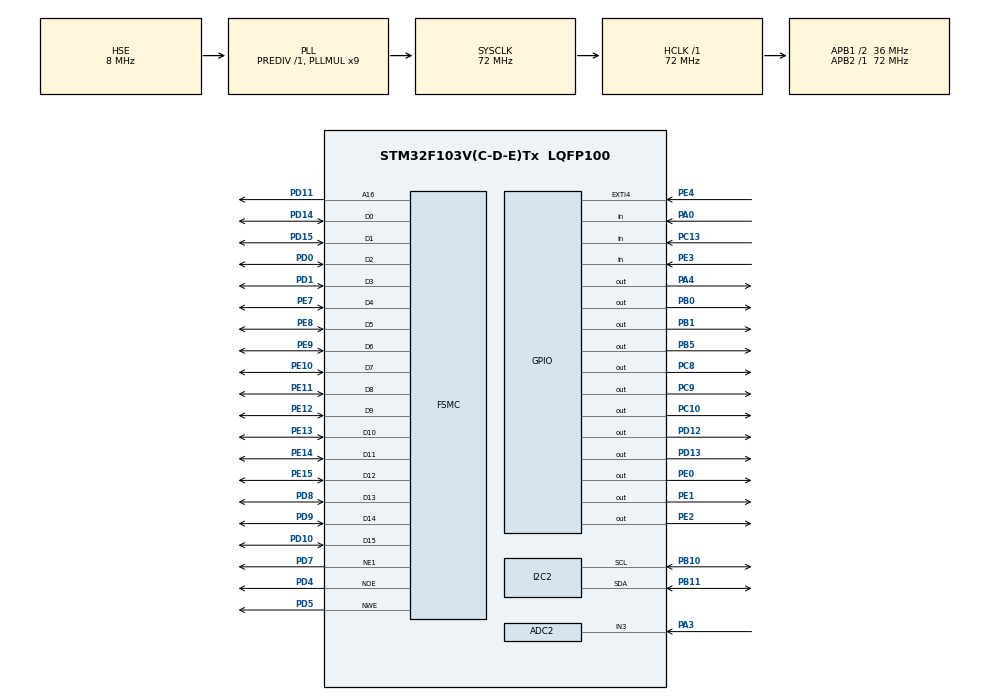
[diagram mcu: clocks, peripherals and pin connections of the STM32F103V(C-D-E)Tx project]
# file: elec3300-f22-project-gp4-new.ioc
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ADC2.Channel-0\#ChannelRegularConversion=ADC_CHANNEL_3
ADC2.ContinuousConvMode=ENABLE
ADC2.NbrOfConversionFlag=1
ADC2.Rank-0\#ChannelRegularConversion=1
ADC2.SamplingTime-0\#ChannelRegularConversion=ADC_SAMPLETIME_55CYCLES_5
I2C2.I2C_Mode=I2C_Fast
Mcu.Family=STM32F1
Mcu.Name=STM32F103V(C-D-E)Tx
Mcu.Package=LQFP100
NVIC.EXTI4_IRQn=true\:0\:0\:false\:false\:true\:true\:true\:true
NVIC.PriorityGroup=NVIC_PRIORITYGROUP_4
OSC_IN.Mode=HSE-External-Oscillator
OSC_IN.Signal=RCC_OSC_IN
OSC_OUT.Mode=HSE-External-Oscillator
OSC_OUT.Signal=RCC_OSC_OUT
PA0-WKUP.Signal=GPIO_Input
PA13.Mode=Serial_Wire
PA13.Signal=SYS_JTMS-SWDIO
PA14.Mode=Serial_Wire
PA14.Signal=SYS_JTCK-SWCLK
PA3.Signal=ADCx_IN3
PA4.GPIO_PuPd=GPIO_NOPULL
PA4.GPIO_Speed=GPIO_SPEED_FREQ_HIGH
PA4.Signal=GPIO_Output
PB0.GPIO_Speed=GPIO_SPEED_FREQ_HIGH
PB0.PinState=GPIO_PIN_SET
PB0.Signal=GPIO_Output
PB1.GPIO_Speed=GPIO_SPEED_FREQ_HIGH
PB1.PinState=GPIO_PIN_SET
PB1.Signal=GPIO_Output
PB10.Mode=I2C
PB10.Signal=I2C2_SCL
PB11.Mode=I2C
PB11.Signal=I2C2_SDA
PB5.GPIO_Speed=GPIO_SPEED_FREQ_HIGH
PB5.PinState=GPIO_PIN_SET
PB5.Signal=GPIO_Output
PC10.Signal=GPIO_Output
PC13-TAMPER-RTC.Signal=GPIO_Input
PC14-OSC32_IN.Mode=LSE-External-Oscillator
PC14-OSC32_IN.Signal=RCC_OSC32_IN
PC15-OSC32_OUT.Mode=LSE-External-Oscillator
PC15-OSC32_OUT.Signal=RCC_OSC32_OUT
PC8.Signal=GPIO_Output
PC9.Signal=GPIO_Output
PD0.Mode=16b-d1
PD0.Signal=FSMC_D2
PD1.Mode=16b-d1
PD1.Signal=FSMC_D3
PD10.Mode=16b-d1
PD10.Signal=FSMC_D15
PD11.Mode=A16_1
PD11.Signal=FSMC_A16
PD12.GPIO_Speed=GPIO_SPEED_FREQ_HIGH
PD12.PinState=GPIO_PIN_RESET
PD12.Signal=GPIO_Output
PD13.GPIO_Speed=GPIO_SPEED_FREQ_HIGH
PD13.PinState=GPIO_PIN_RESET
PD13.Signal=GPIO_Output
PD14.Mode=16b-d1
PD14.Signal=FSMC_D0
PD15.Mode=16b-d1
PD15.Signal=FSMC_D1
PD4.Mode=Lcd1
PD4.Signal=FSMC_NOE
PD5.Mode=Lcd1
PD5.Signal=FSMC_NWE
PD7.Mode=NorPsramChipSelect1_1
PD7.Signal=FSMC_NE1
PD8.Mode=16b-d1
PD8.Signal=FSMC_D13
PD9.Mode=16b-d1
PD9.Signal=FSMC_D14
PE0.GPIO_Speed=GPIO_SPEED_FREQ_HIGH
PE0.PinState=GPIO_PIN_RESET
PE0.Signal=GPIO_Output
PE1.GPIO_Speed=GPIO_SPEED_FREQ_HIGH
PE1.PinState=GPIO_PIN_RESET
PE1.Signal=GPIO_Output
PE10.Mode=16b-d1
PE10.Signal=FSMC_D7
PE11.Mode=16b-d1
PE11.Signal=FSMC_D8
PE12.Mode=16b-d1
PE12.Signal=FSMC_D9
PE13.Mode=16b-d1
PE13.Signal=FSMC_D10
PE14.Mode=16b-d1
PE14.Signal=FSMC_D11
PE15.Mode=16b-d1
PE15.Signal=FSMC_D12
PE2.GPIO_Speed=GPIO_SPEED_FREQ_HIGH
PE2.PinState=GPIO_PIN_RESET
PE2.Signal=GPIO_Output
PE3.GPIO_PuPd=GPIO_PULLUP
PE3.Signal=GPIO_Input
PE4.GPIO_ModeDefaultEXTI=GPIO_MODE_IT_FALLING
PE4.GPIO_PuPd=GPIO_PULLUP
PE4.Signal=GPXTI4
PE7.Mode=16b-d1
PE7.Signal=FSMC_D4
PE8.Mode=16b-d1
PE8.Signal=FSMC_D5
PE9.Mode=16b-d1
PE9.Signal=FSMC_D6
ProjectManager.HeapSize=0x200
ProjectManager.StackSize=0x400
ProjectManager.TargetToolchain=STM32CubeIDE
RCC.ADCPresc=RCC_ADCPCLK2_DIV6
RCC.AHBFreq_Value=72000000
RCC.APB1CLKDivider=RCC_HCLK_DIV2
RCC.APB1Freq_Value=36000000
RCC.APB1TimFreq_Value=72000000
RCC.APB2Freq_Value=72000000
RCC.APB2TimFreq_Value=72000000
RCC.HCLKFreq_Value=72000000
RCC.PLLMUL=RCC_PLL_MUL9
RCC.PLLSourceVirtual=RCC_PLLSOURCE_HSE
RCC.SYSCLKFreq_VALUE=72000000
RCC.SYSCLKSource=RCC_SYSCLKSOURCE_PLLCLK
RCC.USBFreq_Value=72000000
SH.ADCx_IN3.0=ADC2_IN3,IN3
board=custom

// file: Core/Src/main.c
/* USER CODE BEGIN Header */
/**
  ******************************************************************************
  * @file           : main.c
  * @brief          : Main program body
  ******************************************************************************
  * @attention
  *
  * Copyright (c) 2022 STMicroelectronics.
  * All rights reserved.
  *
  * This software is licensed under terms that can be found in the LICENSE file
  * in the root directory of this software component.
  * If no LICENSE file comes with this software, it is provided AS-IS.
  *
  ******************************************************************************
  */
/* USER CODE END Header */
#include "main.h"

/* USER CODE BEGIN Includes */
#include "stdio.h"
#include "string.h"
#include "math.h"
#include "stdlib.h"
#include "lcdtp.h"
#include "xpt2046.h"
/* USER CODE END Includes */

/* USER CODE BEGIN PTD */
struct accelerometerRecord {
    int16_t rawX, rawY, rawZ;
};
/* USER CODE END PTD */

/* USER CODE BEGIN PD */
#define ACCELE_FACTOR 0.0039
#define ACCELE_ACCEPTABLE_ERROR 12
#define RECORD_MAX_SIZE 100
#define ADXL_ADDR 0x1D
#define HMC5883L_ADDR 0x1E
#define N_SAMPLE 10
/* USER CODE END PD */

ADC_HandleTypeDef hadc2;

I2C_HandleTypeDef hi2c2;

SRAM_HandleTypeDef hsram1;

/* USER CODE BEGIN PV */
enum Page {
    home, weight, accelerometer
};
enum Page currentPage = home;
int changingPage = 1;
int16_t initX_Acc_Reading = 0, initY_Acc_Reading = 0, initZ_Acc_Reading = 0;

struct accelerometerRecord accleRecord[RECORD_MAX_SIZE]; //storing the past data of the accelerometer for calculating distance
uint16_t angleRecord[RECORD_MAX_SIZE]; //storing the past data of the angle the user is facing for determining if the user is rotating while standing
short acceleRecordSize, angleRecordSize = 0; //storing the current index of accleRecord/angleRecord. Elemets should shift left if full
uint32_t distanceTraveled = 0; //storing the distance travelled in total. Reset when users return to home.
double actualDistance = 0.0;
struct YPin weightSensors[8];
struct YPinData weightSensorsData[8];
/* USER CODE END PV */

void SystemClock_Config(void);
static void MX_GPIO_Init(void);
static void MX_FSMC_Init(void);
static void MX_ADC2_Init(void);
static void MX_I2C2_Init(void);

/* USER CODE BEGIN 0 */
void Check_touchkey() {
    strType_XPT2046_Coordinate strDisplayCoordinate;
    if (XPT2046_Get_TouchedPoint(&strDisplayCoordinate, &strXPT2046_TouchPara)) {
        if (currentPage == home) {
            if (strDisplayCoordinate.y > 210 && strDisplayCoordinate.y < 250) {
                if (strDisplayCoordinate.x > 20 && strDisplayCoordinate.x < 100) {
                    currentPage = weight;
                    changingPage = 1;
                } else if (strDisplayCoordinate.x > 130 && strDisplayCoordinate.x < 210) {
                    currentPage = accelerometer;
                    changingPage = 1;
                }
            }
        } else {
            if (strDisplayCoordinate.y > 267 && strDisplayCoordinate.y < 293) {
                if (strDisplayCoordinate.x > 20 && strDisplayCoordinate.x < 150) {
                    currentPage = home;
                    changingPage = 1;
                }
            }
        }
    }
}

void clearAcceleRecord() {
    for (short i = 0; i < RECORD_MAX_SIZE; ++i) {
        accleRecord[i].rawX = 0;
        accleRecord[i].rawY = 0;
        accleRecord[i].rawZ = 0;
    }
    acceleRecordSize = 0;
    distanceTraveled = 0;
    actualDistance = 0.0;
}

void clearAngleRecord() {
    for (short i = 0; i < RECORD_MAX_SIZE; ++i) {
        angleRecord[i] = 0;
    }
    angleRecordSize = 0;
}

void shiftAcceleRecord() {
    if (acceleRecordSize < RECORD_MAX_SIZE) {
        return;
    }
    for (short i = 1; i < RECORD_MAX_SIZE; ++i) {
        accleRecord[i - 1].rawX = accleRecord[i].rawX;
        accleRecord[i - 1].rawY = accleRecord[i].rawY;
        accleRecord[i - 1].rawZ = accleRecord[i].rawZ;
    }
    accleRecord[RECORD_MAX_SIZE - 1].rawX = 0;
    accleRecord[RECORD_MAX_SIZE - 1].rawY = 0;
    accleRecord[RECORD_MAX_SIZE - 1].rawZ = 0;
    --acceleRecordSize;
}

void shiftAngleRecord() {
    if (angleRecordSize < RECORD_MAX_SIZE) {
        return;
    }
    for (short i = 1; i < RECORD_MAX_SIZE; ++i) {
        angleRecord[i - 1] = angleRecord[i];
    }
    --angleRecordSize;
}

short isWithin(int16_t A, int16_t B, uint16_t range){
    return abs(A - B) <= range ? 1 : 0;
}

int16_t offset(const int16_t value, const int16_t initialReading){
    return isWithin(value, initialReading, ACCELE_ACCEPTABLE_ERROR) == 1 ? value : 0;
}

void insertAcceleRecord(int16_t rawX, int16_t rawY, int16_t rawZ) {
    while (acceleRecordSize >= RECORD_MAX_SIZE) {
        shiftAcceleRecord();
    }
//    char debug[10] = "";
//    sprintf(debug, "%03d", acceleRecordSize);
//    LCD_DrawString_Color(45, 10, debug, BLACK, WHITE);
//    if (N_SAMPLE > acceleRecordSize) {
//        // NOT ENOUGH SAMPLE, DISREGRAD THIS DATA
//        accleRecord[acceleRecordSize].rawX = 0;
//        accleRecord[acceleRecordSize].rawY = 0;
//        accleRecord[acceleRecordSize].rawZ = 0;
//        ++acceleRecordSize;
//        return;
//    }
    rawX = offset(rawX, initX_Acc_Reading);
    rawY = offset(rawY, initY_Acc_Reading);
    rawZ = offset(rawZ, initZ_Acc_Reading);
    int32_t accum_x = 0, accum_y = 0, accum_z = 0;
    for(uint16_t i = RECORD_MAX_SIZE - acceleRecordSize - 1; i < RECORD_MAX_SIZE; ++i){
        accum_x += accleRecord[i].rawX;
        accum_y += accleRecord[i].rawY;
        accum_z += accleRecord[i].rawZ;
    }
    const int16_t avg_x = (int16_t) floor(accum_x / N_SAMPLE);
    const int16_t avg_y = (int16_t) floor(accum_y / N_SAMPLE);
    const int16_t avg_z = (int16_t) floor(accum_z / N_SAMPLE);
    //constant unchanging acceleration,
    if (rawX != 0) rawX = isWithin(rawX, avg_x, ACCELE_ACCEPTABLE_ERROR) == 1 ? rawX : 0;
    if (rawY != 0) rawY = isWithin(rawY, avg_y, ACCELE_ACCEPTABLE_ERROR) == 1 ? rawY : 0;
    if (rawZ != 0) rawZ = isWithin(rawZ, avg_z, ACCELE_ACCEPTABLE_ERROR) == 1 ? rawZ : 0;
    accleRecord[acceleRecordSize].rawX = rawX;
    accleRecord[acceleRecordSize].rawY = rawY;
    accleRecord[acceleRecordSize].rawZ = rawZ;
    ++acceleRecordSize;
}

void insertAngleRecord(uint8_t newAngle) {
    while (angleRecordSize > RECORD_MAX_SIZE) {
        shiftAngleRecord();
    }
    angleRecord[angleRecordSize++] = newAngle;
}

/* This function takes in a newRecord and add to the distance traveled below */
void updateDistance(int16_t newX, int16_t newY, int16_t newZ) {
    int32_t accum_x = 0, accum_y = 0, accum_z = 0;
    for (short i = 0; i < acceleRecordSize; ++i) {
        double ratioDelay; // focus on the most recent samples, old data decaying overtime
        if ((double) i / acceleRecordSize < 0.25) ratioDelay = 0.05;
        else if ((double) i / acceleRecordSize < 0.50) ratioDelay = 0.15;
        else if ((double) i / acceleRecordSize < 0.75) ratioDelay = 0.3;
        else ratioDelay = 0.5;
        accum_x += (int16_t) floor(accleRecord[i].rawX * ratioDelay);
        accum_y += (int16_t) floor(accleRecord[i].rawY * ratioDelay);
        accum_z += (int16_t) floor(accleRecord[i].rawZ * ratioDelay);
    }
    const int16_t avg_x = accum_x / RECORD_MAX_SIZE, avg_y = accum_y / RECORD_MAX_SIZE, avg_z =
            accum_z / RECORD_MAX_SIZE;
    /* Ignore the axis if the most recent accelerometer is less than the average of recent samples
     * Otherwise, only calculate the difference between the new values and the averaged values*/
    (newX <= avg_x) ? (accum_x = 0) : (accum_x -= avg_x);
    (newY <= avg_y) ? (accum_y = 0) : (accum_y -= avg_y);
    (newZ <= avg_z) ? (accum_z = 0) : (accum_z -= avg_z);
    const double calDis = sqrt(pow(accum_x, 2) + pow(accum_y, 2) + pow(accum_z, 2));
    distanceTraveled += (uint16_t) floor(calDis);
    actualDistance += (calDis / 1000);
}

int16_t combineUint_8ts(uint8_t a, uint8_t b) {
    return ((0xFFFF & a) << 8) | (0xFFFF & b);
}

short checkIfInOrder(short isAscending, uint16_t A, uint16_t B) {
    if (isAscending == 1) {
        return A < B ? 1 : 0;
    } else {
        return A > B ? 1 : 0;
    }
}

/* The following function will determine if the accelerometer is rotating with the user
 * returns 1 if it is rotating, 0 otherwise*/
short isRotating() {
    if (angleRecordSize < 30) return 0; //too few sample, cannot determine
    uint16_t previousAngle = angleRecord[angleRecordSize - 30];
    short isAscending = angleRecord[angleRecordSize - 29] <= previousAngle ? 1 : 0;
    for (int i = angleRecordSize - 29; i < angleRecordSize; ++i) {
        if (checkIfInOrder(isAscending, previousAngle, angleRecord[i]) == 1
            || abs(angleRecord[i] - previousAngle) <= 5
            || (previousAngle >= 350 && previousAngle <= 360) && (angleRecord[i] >= 0 && angleRecord[i] <= 10)
                ) {
            // if angle continue to increase/decrease in trend,
            // the difference is within the range of error, or angle reset from ~360 to ~0
            previousAngle = angleRecord[i];
        } else return 0;
    }
    return 1;
}

void getY(uint8_t index, uint8_t delay) {
    if ((index & 0x01) == 0) {
        HAL_GPIO_WritePin(GPIOC, GPIO_PIN_8, GPIO_PIN_RESET);
    } else {
        HAL_GPIO_WritePin(GPIOC, GPIO_PIN_8, GPIO_PIN_SET);
    }

    if ((index & 0x02) == 0) {
        HAL_GPIO_WritePin(GPIOC, GPIO_PIN_9, GPIO_PIN_RESET);
    } else {
        HAL_GPIO_WritePin(GPIOC, GPIO_PIN_9, GPIO_PIN_SET);
    }

    if ((index & 0x04) == 0) {
        HAL_GPIO_WritePin(GPIOC, GPIO_PIN_10, GPIO_PIN_RESET);
    } else {
        HAL_GPIO_WritePin(GPIOC, GPIO_PIN_10, GPIO_PIN_SET);
    }

    HAL_Delay(delay);
}

void initWeightSensor(struct YPin pin, uint16_t vAt0, uint16_t vAtS, uint16_t wAtS) {
    pin.voltageAtZeroWeight = vAt0;
    pin.voltageAtSampledWeight = vAtS;
    pin.weightAtSampledWeight = wAtS;
    pin.weightCoef = wAtS * 1.0 / (vAtS - vAt0);
}

void initAcceleData(){
    for(uint16_t i = 0; i < RECORD_MAX_SIZE; ++i){
        accleRecord[i].rawX = 0;
        accleRecord[i].rawY = 0;
        accleRecord[i].rawZ = 0;
    }
}

void initWeightSensors(struct YPin *pins) {
    pins[0].voltageAtZeroWeight = 1200;
    pins[0].voltageAtSampledWeight = 1500;
    pins[0].weightAtSampledWeight = 270;

    pins[1].voltageAtZeroWeight = 1300;
    pins[1].voltageAtSampledWeight = 1500;
    pins[1].weightAtSampledWeight = 270;

    pins[2].voltageAtZeroWeight = 1800;
    pins[2].voltageAtSampledWeight = 2600;
    pins[2].weightAtSampledWeight = 300;

    pins[3].voltageAtZeroWeight = 2800;
    pins[3].voltageAtSampledWeight = 3200;
    pins[3].weightAtSampledWeight = 300;

    pins[4].voltageAtZeroWeight = 1000;
    pins[4].voltageAtSampledWeight = 1800;
    pins[4].weightAtSampledWeight = 300;

    pins[5].voltageAtZeroWeight = 1800;
    pins[5].voltageAtSampledWeight = 2000;
    pins[5].weightAtSampledWeight = 300;

    pins[6].voltageAtZeroWeight = 1800;
    pins[6].voltageAtSampledWeight = 2100;
    pins[6].weightAtSampledWeight = 300;

    pins[7].voltageAtZeroWeight = 1000;
    pins[7].voltageAtSampledWeight = 21500;
    pins[7].weightAtSampledWeight = 300;

    for (uint8_t i = 0; i < 8; i++)
        pins[i].weightCoef = pins[i].weightAtSampledWeight * 1.0 / (pins[i].voltageAtSampledWeight - pins[i].voltageAtZeroWeight);
}

void initializeHMC5883L() {
    // 0x1E for developer access
    uint8_t initValue = 0x70;
    HAL_I2C_Mem_Write(&hi2c2, HMC5883L_ADDR << 1, 0x00, 1, &initValue, 1, 100);
    initValue = 0xA0;
    HAL_I2C_Mem_Write(&hi2c2, HMC5883L_ADDR << 1, 0x01, 1, &initValue, 1, 100);
}

void mainPage(void) {
    if (changingPage) {
        changingPage = 0;
        currentPage = home;
        LCD_Clear(0, 0, 240, 320, BLACK);
        char *output_text = "Welcome to the smart suitcase system";
        LCD_DrawString_Color_With_Delay(0, 40, output_text, BLUE, WHITE, 10);
        HAL_Delay(100);
        output_text = "Please choose an option below.";
        LCD_DrawString_Color(0, 100, output_text, BLACK, WHITE);
        HAL_Delay(200);
        LCD_Clear(20, 230, 80, 40, CYAN); //WEIGHT BOX: 20 ~ 100 / 210 ~ 250
        output_text = "WEIGHT";
        LCD_DrawString_Color_With_Delay(35, 242, output_text, CYAN, BLACK, 15);
        HAL_Delay(200);
        output_text = "ACCEL.";
        LCD_Clear(130, 230, 80, 40, YELLOW); //ACCELE BOX: 130 ~ 210 / 210 ~ 250
        LCD_DrawString_Color_With_Delay(150, 242, output_text, YELLOW, BLACK, 15);
    }
}

void drawBackToHome() {
    const char *output_text = "Return to Home";
    LCD_Clear(20, 280, 130, 25, CYAN); // RETURN HOME BOX: 20 ~ 150 / 267 ~ 293
    LCD_DrawString_Color_With_Delay(30, 285, output_text, CYAN, BLACK, 10);
    HAL_Delay(20);
}

void weightPage(void) {
    char *output_text;
    if (changingPage) {
        changingPage = 0;
        currentPage = weight;
        output_text = "W E I G H T D E T E C T I O N";
        LCD_Clear(0, 0, 240, 320, BLACK);
        LCD_DrawString_Color_With_Delay(10, 40, output_text, BLUE, WHITE, 10);
        drawBackToHome();

        for (uint8_t i = 0; i < 8; i++) {
            char temp[10] = "";
            sprintf(temp, "Y%d: ", i);
            LCD_DrawString_Color(110, 100 + 18 * i, temp, BACKGROUND, WHITE);
        }
    }

    uint16_t sum = 0;
    for (uint8_t counter = 0; counter < 8; counter++) {
        getY(counter, 20);

        unsigned int val = HAL_ADC_GetValue(&hadc2);
        int16_t weightPin = weightSensors[counter].weightCoef * (val - weightSensors[counter].voltageAtZeroWeight);
        if (weightPin < 0) weightPin = 0;
        sum += weightPin;

        if (counter < 4)
        	LCD_DrawHeatCircle(30, 240 - counter * 40, 30, 85 - val * 85 / 4096, 85);
        else
        	LCD_DrawHeatCircle(70, 120 + (counter - 4) * 40, 30, 85 - val * 85 / 4096, 85);

        //LCD_SetPinColor(&weightSensorsData[counter], 85 - val * 85 / 4096);

        char dec[20] = "";
        sprintf(dec, "%4d %5d", val, weightPin);
        LCD_DrawString_Color(140, 100 + 18 * counter, dec, BACKGROUND, WHITE);
    }
	//LCD_PrintHeatMap(weightSensorsData);

    char output_gram[20] = "";
    sprintf(output_gram, "%6d Gram", sum);
    LCD_DrawString_Color(120, 80, output_gram, BLUE, WHITE);

    HAL_Delay(20);
}

void accelerometerPage() {
    char *output_text;
    if (changingPage) {
        /* BEGIN CALIBRATING ACCELEROMETER */
        clearAcceleRecord();
        clearAngleRecord();
        initAcceleData();
        uint8_t setPWLMode = 0x00; //reset accelerometer
        HAL_I2C_Mem_Write(&hi2c2, ADXL_ADDR << 1, 0x2D, 1, &setPWLMode, 1, 100);
        HAL_Delay(100);
        setPWLMode = 0x08; //disable auto sleep, always measure
        HAL_I2C_Mem_Write(&hi2c2, ADXL_ADDR << 1, 0x2D, 1, &setPWLMode, 1, 100);
        uint8_t formatting = 0x05; // full res +-4g
        HAL_I2C_Mem_Write(&hi2c2, ADXL_ADDR << 1, 0x31, 1, &formatting, 1, 100);
        uint8_t debug = 0x00;
        HAL_I2C_Mem_Read(&hi2c2, ADXL_ADDR << 1, 0x00, 1, &debug, 1, 100);
        LCD_Clear(0, 0, 240, 320, BLACK);
        HAL_Delay(100);
        if (debug != 0xE5) {
            output_text = "SENSORS NOT PRESENT";
            LCD_DrawString_Color_With_Delay(50, 100, output_text, RED, WHITE, 5);
            output_text = "PLEASE RETRY AFTER CONNECTING THE ACCELEROMETER";
            LCD_DrawString_Color_With_Delay(0, 150, output_text, BLACK, WHITE, 3);
            HAL_Delay(3000);
            currentPage = home;
            changingPage = 1;
            return; //BACK TO HOME
        }
        output_text = "CALIBRATING IN 2s. DO NOT MOVE YOUR LUGGAGE.";
        LCD_DrawString_Color_With_Delay(0, 100, output_text, GREEN, BLACK, 10);
        HAL_Delay(2000);
        int32_t accumX = 0, accumY = 0, accumZ = 0;
        LCD_Clear(0, 0, 240, 320, BLACK);
        output_text = "CALIBRATING...";
        LCD_DrawString_Color(80, 100, output_text, RED, WHITE);
        for (short i = 0; i < 50; ++i) {
            uint8_t *arrayOfData = malloc(6 * sizeof(uint8_t));
            HAL_I2C_Mem_Read(&hi2c2, ADXL_ADDR << 1, 0x32, 1, arrayOfData, 6, 100);
            /* Take maximum reading only */
            accumX += combineUint_8ts(arrayOfData[1], arrayOfData[0]) >> 5;
            accumY += combineUint_8ts(arrayOfData[3], arrayOfData[2]) >> 5;
            accumZ += combineUint_8ts(arrayOfData[5], arrayOfData[4]) >> 5;
            free(arrayOfData);
            HAL_Delay(10);
        }
        initX_Acc_Reading = (int16_t) floor((double) accumX / 50);
        initY_Acc_Reading = (int16_t) floor((double) accumY / 50);
        initZ_Acc_Reading = (int16_t) floor((double) accumZ / 50);
        LCD_Clear(0, 0, 240, 320, BLACK);
        initializeHMC5883L();
        output_text = "CALIBRATING FINISHED. CONTINUING";
        LCD_DrawString_Color_With_Delay(0, 100, output_text, GREEN, BLACK, 10);
        char x_debug[20] = "", y_debug[20] = "", z_debug[20] = "";
        sprintf(x_debug, "%04d", initX_Acc_Reading);
        sprintf(y_debug, "%04d", initY_Acc_Reading);
        sprintf(z_debug, "%04d", initZ_Acc_Reading);
        strcat(x_debug, "  x");
        strcat(y_debug, "  y");
        strcat(z_debug, "  z");
        LCD_DrawString_Color(60, 140, x_debug, BLACK, WHITE);
        LCD_DrawString_Color(60, 160, y_debug, BLACK, WHITE);
        LCD_DrawString_Color(60, 180, z_debug, BLACK, WHITE);
        HAL_Delay(1500);
        /* COMPLETED CALIBRATING ACCELEROMETER */
        changingPage = 0;
        currentPage = accelerometer;
        output_text = "A C C E L E R O M E T E R.";
        LCD_Clear(0, 0, 240, 320, BLACK);
        LCD_DrawString_Color_With_Delay(10, 40, output_text, BLUE, WHITE, 10);
        drawBackToHome();
        output_text = "X: ";
        LCD_DrawString_Color(40, 100, output_text, CYAN, BLACK);
        output_text = "Y: ";
        LCD_DrawString_Color(40, 130, output_text, YELLOW, BLACK);
        output_text = "Z: ";
        LCD_DrawString_Color(40, 160, output_text, BLUE, BLACK);
        output_text = "DIS: ";
        LCD_DrawString_Color(25, 190, output_text, WHITE, BLACK);
        /* DEBUG MESSAGE BELOW */
        if (debug != 0xE5) {
            output_text = "SENSOR NP";
            LCD_DrawString_Color(140, 280, output_text, RED, WHITE);
        }
        /* DEBUG MESSAGE ABOVE */
    }
    uint8_t *acceleromterData = malloc(6 * sizeof(uint8_t));
    //arrayofData[1] = x1, arrayofData[0] = x2, arrayofData[3] = y1 .....
    HAL_I2C_Mem_Read(&hi2c2, ADXL_ADDR << 1, 0x32, 1, acceleromterData, 6, 90);
    char x_print[20] = "", y_print[20] = "", z_print[20] = "";
    const int16_t combined_aX = combineUint_8ts(acceleromterData[1], acceleromterData[0]) >> 5;
    const int16_t combined_aY = combineUint_8ts(acceleromterData[3], acceleromterData[2]) >> 5;
    const int16_t combined_aZ = combineUint_8ts(acceleromterData[5], acceleromterData[4]) >> 5;
    uint8_t *compassData = malloc(6 * sizeof(uint8_t));
    uint8_t writeMode = 0x01;
    HAL_I2C_Mem_Write(&hi2c2, HMC5883L_ADDR << 1, 0x02, 1, &writeMode, 1, 100);
    HAL_I2C_Mem_Read(&hi2c2, HMC5883L_ADDR << 1, 0x03, 1, compassData, 6, 100);
    const int16_t thetaX = combineUint_8ts(compassData[0], compassData[1]);
    const int16_t thetaY = combineUint_8ts(compassData[2], compassData[3]);
    const int16_t thetaZ = combineUint_8ts(compassData[4], compassData[5]);
    /* DEBUG MESSAGE BELOW */
    sprintf(x_print, "%+04d", combined_aX);
    sprintf(y_print, "%+04d", combined_aY);
    sprintf(z_print, "%+04d", combined_aZ);
    LCD_DrawString_Color(20, 210, x_print, BLACK, WHITE);
    LCD_DrawString_Color(80, 210, y_print, BLACK, WHITE);
    LCD_DrawString_Color(140, 210, z_print, BLACK, WHITE);
    sprintf(x_print, "%+04d", initX_Acc_Reading);
    sprintf(y_print, "%+04d", initY_Acc_Reading);
    sprintf(z_print, "%+04d", initZ_Acc_Reading);
    LCD_DrawString_Color(20, 230, x_print, BLACK, WHITE);
    LCD_DrawString_Color(80, 230, y_print, BLACK, WHITE);
    LCD_DrawString_Color(140, 230, z_print, BLACK, WHITE);
    sprintf(x_print, "%+04d", accleRecord[RECORD_MAX_SIZE - 1].rawX);
    sprintf(y_print, "%+04d", accleRecord[RECORD_MAX_SIZE - 1].rawY);
    sprintf(z_print, "%+04d", accleRecord[RECORD_MAX_SIZE - 1].rawZ);
    LCD_DrawString_Color(20, 250, x_print, BLACK, WHITE);
    LCD_DrawString_Color(80, 250, y_print, BLACK, WHITE);
    LCD_DrawString_Color(140, 250, z_print, BLACK, WHITE);
    sprintf(x_print, "%03d", acceleRecordSize);
    LCD_DrawString_Color(10, 10, x_print, BLACK, WHITE);
    /* DEBUG MESSAGE ABOVE */

    // All axes have a scale factor of 7.8
    const double finalizedX = (isWithin(combined_aX, initX_Acc_Reading, ACCELE_ACCEPTABLE_ERROR) == 0) ? (combined_aX *
                                                                                                        ACCELE_FACTOR)
                                                                                                     : 0.0;
    const double finalizedY = (isWithin(combined_aY, initY_Acc_Reading, ACCELE_ACCEPTABLE_ERROR) == 0) ? (combined_aY *
                                                                                                          ACCELE_FACTOR)
                                                                                                       : 0.0;
    const double finalizedZ = (isWithin(combined_aZ, initZ_Acc_Reading, ACCELE_ACCEPTABLE_ERROR) == 0) ? (combined_aZ *
                                                                                                          ACCELE_FACTOR)
                                                                                                       : 0.0;
    sprintf(x_print, "%+0.2f", finalizedX);
    sprintf(y_print, "%+0.2f", finalizedY);
    sprintf(z_print, "%+0.2f", finalizedZ);
    LCD_DrawString_Color(100, 100, x_print, CYAN, BLACK);
    LCD_DrawString_Color(100, 130, y_print, YELLOW, BLACK);
    LCD_DrawString_Color(100, 160, z_print, BLUE, BLACK);
    sprintf(x_print, "%+05d", thetaX);
    sprintf(y_print, "%+05d", thetaY);
    sprintf(z_print, "%+05d", thetaZ);
    LCD_DrawString_Color(160, 100, x_print, CYAN, BLACK);
    LCD_DrawString_Color(160, 130, y_print, YELLOW, BLACK);
    LCD_DrawString_Color(160, 160, z_print, BLUE, BLACK);
    const double angle = atan2(thetaY, thetaX) * 180 / M_PI;
    const uint16_t polishedAngle = (int) angle < 0 ? 360 - (int) fabs(angle) : (int) angle;
    char angle_print[8];
    sprintf(angle_print, "%03d deg", polishedAngle);
    LCD_DrawString_Color(170, 20, angle_print, BLACK, WHITE);
    insertAngleRecord(polishedAngle);
    insertAcceleRecord(combined_aX, combined_aY, combined_aZ);
    //if(isRotating() == 1)
    //take in the most recent n entries for average calculation
    updateDistance(combined_aX, combined_aY, combined_aZ);
    char dis_print[10] = "";
    sprintf(dis_print, "%05lu", distanceTraveled);
    LCD_DrawString_Color(100, 190, dis_print, WHITE, BLACK);
    sprintf(dis_print, "%0.3f", actualDistance);
    LCD_DrawString_Color(160, 190, dis_print, WHITE, BLACK);
    free(acceleromterData);
    free(compassData);
}

/* USER CODE END 0 */

int main(void)
{

  /* MCU Configuration--------------------------------------------------------*/

  /* Reset of all peripherals, Initializes the Flash interface and the Systick. */
  HAL_Init();

  /* Configure the system clock */
  SystemClock_Config();

  /* Initialize all configured peripherals */
  MX_GPIO_Init();
  MX_FSMC_Init();
  MX_ADC2_Init();
  MX_I2C2_Init();
  /* USER CODE BEGIN 2 */
  HAL_ADCEx_Calibration_Start(&hadc2);
  HAL_ADC_PollForConversion(&hadc2, 1000);
  HAL_ADC_Start(&hadc2);
  macXPT2046_CS_DISABLE();
  LCD_INIT();
  currentPage = home;
  HAL_Delay(50);
  while (!XPT2046_Touch_Calibrate());
  LCD_GramScan(1);
  LCD_Clear(0, 0, 240, 320, BLACK);
  mainPage();

  initWeightSensors(weightSensors);
  LCD_InitHeatCoords(weightSensorsData);

  HAL_Delay(500);
  /* USER CODE END 2 */

  /* Infinite loop */
  /* USER CODE BEGIN WHILE */
  while (1)
  {
  	if (currentPage == home) mainPage();
    else if (currentPage == weight) weightPage();
    else if (currentPage == accelerometer) accelerometerPage();
    else mainPage();
    if (ucXPT2046_TouchFlag == 1) {
        Check_touchkey();
        ucXPT2046_TouchFlag = 0;
    }
    HAL_Delay(150);
    /* USER CODE END WHILE */

  }
}

void SystemClock_Config(void)
{
  RCC_OscInitTypeDef RCC_OscInitStruct = {0};
  RCC_ClkInitTypeDef RCC_ClkInitStruct = {0};
  RCC_PeriphCLKInitTypeDef PeriphClkInit = {0};

  /** Initializes the RCC Oscillators according to the specified parameters
  * in the RCC_OscInitTypeDef structure.
  */
  RCC_OscInitStruct.OscillatorType = RCC_OSCILLATORTYPE_HSE;
  RCC_OscInitStruct.HSEState = RCC_HSE_ON;
  RCC_OscInitStruct.HSEPredivValue = RCC_HSE_PREDIV_DIV1;
  RCC_OscInitStruct.HSIState = RCC_HSI_ON;
  RCC_OscInitStruct.PLL.PLLState = RCC_PLL_ON;
  RCC_OscInitStruct.PLL.PLLSource = RCC_PLLSOURCE_HSE;
  RCC_OscInitStruct.PLL.PLLMUL = RCC_PLL_MUL9;
  if (HAL_RCC_OscConfig(&RCC_OscInitStruct) != HAL_OK)
  {
    Error_Handler();
  }

  /** Initializes the CPU, AHB and APB buses clocks
  */
  RCC_ClkInitStruct.ClockType = RCC_CLOCKTYPE_HCLK|RCC_CLOCKTYPE_SYSCLK
                              |RCC_CLOCKTYPE_PCLK1|RCC_CLOCKTYPE_PCLK2;
  RCC_ClkInitStruct.SYSCLKSource = RCC_SYSCLKSOURCE_PLLCLK;
  RCC_ClkInitStruct.AHBCLKDivider = RCC_SYSCLK_DIV1;
  RCC_ClkInitStruct.APB1CLKDivider = RCC_HCLK_DIV2;
  RCC_ClkInitStruct.APB2CLKDivider = RCC_HCLK_DIV1;

  if (HAL_RCC_ClockConfig(&RCC_ClkInitStruct, FLASH_LATENCY_2) != HAL_OK)
  {
    Error_Handler();
  }
  PeriphClkInit.PeriphClockSelection = RCC_PERIPHCLK_ADC;
  PeriphClkInit.AdcClockSelection = RCC_ADCPCLK2_DIV6;
  if (HAL_RCCEx_PeriphCLKConfig(&PeriphClkInit) != HAL_OK)
  {
    Error_Handler();
  }
}

static void MX_ADC2_Init(void)
{

  ADC_ChannelConfTypeDef sConfig = {0};

  /** Common config
  */
  hadc2.Instance = ADC2;
  hadc2.Init.ScanConvMode = ADC_SCAN_DISABLE;
  hadc2.Init.ContinuousConvMode = ENABLE;
  hadc2.Init.DiscontinuousConvMode = DISABLE;
  hadc2.Init.ExternalTrigConv = ADC_SOFTWARE_START;
  hadc2.Init.DataAlign = ADC_DATAALIGN_RIGHT;
  hadc2.Init.NbrOfConversion = 1;
  if (HAL_ADC_Init(&hadc2) != HAL_OK)
  {
    Error_Handler();
  }

  /** Configure Regular Channel
  */
  sConfig.Channel = ADC_CHANNEL_3;
  sConfig.Rank = ADC_REGULAR_RANK_1;
  sConfig.SamplingTime = ADC_SAMPLETIME_55CYCLES_5;
  if (HAL_ADC_ConfigChannel(&hadc2, &sConfig) != HAL_OK)
  {
    Error_Handler();
  }

}

static void MX_I2C2_Init(void)
{

  hi2c2.Instance = I2C2;
  hi2c2.Init.ClockSpeed = 400000;
  hi2c2.Init.DutyCycle = I2C_DUTYCYCLE_2;
  hi2c2.Init.OwnAddress1 = 0;
  hi2c2.Init.AddressingMode = I2C_ADDRESSINGMODE_7BIT;
  hi2c2.Init.DualAddressMode = I2C_DUALADDRESS_DISABLE;
  hi2c2.Init.OwnAddress2 = 0;
  hi2c2.Init.GeneralCallMode = I2C_GENERALCALL_DISABLE;
  hi2c2.Init.NoStretchMode = I2C_NOSTRETCH_DISABLE;
  if (HAL_I2C_Init(&hi2c2) != HAL_OK)
  {
    Error_Handler();
  }

}

static void MX_GPIO_Init(void)
{
  GPIO_InitTypeDef GPIO_InitStruct = {0};

  /* GPIO Ports Clock Enable */
  __HAL_RCC_GPIOE_CLK_ENABLE();
  __HAL_RCC_GPIOC_CLK_ENABLE();
  __HAL_RCC_GPIOA_CLK_ENABLE();
  __HAL_RCC_GPIOB_CLK_ENABLE();
  __HAL_RCC_GPIOD_CLK_ENABLE();

  /*Configure GPIO pin Output Level */
  HAL_GPIO_WritePin(GPIOE, GPIO_PIN_2|GPIO_PIN_0|GPIO_PIN_1, GPIO_PIN_RESET);

  /*Configure GPIO pin Output Level */
  HAL_GPIO_WritePin(GPIOA, GPIO_PIN_4, GPIO_PIN_RESET);

  /*Configure GPIO pin Output Level */
  HAL_GPIO_WritePin(GPIOB, GPIO_PIN_0|GPIO_PIN_1|GPIO_PIN_5, GPIO_PIN_SET);

  /*Configure GPIO pin Output Level */
  HAL_GPIO_WritePin(GPIOD, GPIO_PIN_12|GPIO_PIN_13, GPIO_PIN_RESET);

  /*Configure GPIO pin Output Level */
  HAL_GPIO_WritePin(GPIOC, GPIO_PIN_8|GPIO_PIN_9|GPIO_PIN_10, GPIO_PIN_RESET);

  /*Configure GPIO pins : PE2 PE0 PE1 */
  GPIO_InitStruct.Pin = GPIO_PIN_2|GPIO_PIN_0|GPIO_PIN_1;
  GPIO_InitStruct.Mode = GPIO_MODE_OUTPUT_PP;
  GPIO_InitStruct.Pull = GPIO_NOPULL;
  GPIO_InitStruct.Speed = GPIO_SPEED_FREQ_HIGH;
  HAL_GPIO_Init(GPIOE, &GPIO_InitStruct);

  /*Configure GPIO pin : PE3 */
  GPIO_InitStruct.Pin = GPIO_PIN_3;
  GPIO_InitStruct.Mode = GPIO_MODE_INPUT;
  GPIO_InitStruct.Pull = GPIO_PULLUP;
  HAL_GPIO_Init(GPIOE, &GPIO_InitStruct);

  /*Configure GPIO pin : PE4 */
  GPIO_InitStruct.Pin = GPIO_PIN_4;
  GPIO_InitStruct.Mode = GPIO_MODE_IT_FALLING;
  GPIO_InitStruct.Pull = GPIO_PULLUP;
  HAL_GPIO_Init(GPIOE, &GPIO_InitStruct);

  /*Configure GPIO pin : PC13 */
  GPIO_InitStruct.Pin = GPIO_PIN_13;
  GPIO_InitStruct.Mode = GPIO_MODE_INPUT;
  GPIO_InitStruct.Pull = GPIO_NOPULL;
  HAL_GPIO_Init(GPIOC, &GPIO_InitStruct);

  /*Configure GPIO pin : PA0 */
  GPIO_InitStruct.Pin = GPIO_PIN_0;
  GPIO_InitStruct.Mode = GPIO_MODE_INPUT;
  GPIO_InitStruct.Pull = GPIO_NOPULL;
  HAL_GPIO_Init(GPIOA, &GPIO_InitStruct);

  /*Configure GPIO pin : PA4 */
  GPIO_InitStruct.Pin = GPIO_PIN_4;
  GPIO_InitStruct.Mode = GPIO_MODE_OUTPUT_PP;
  GPIO_InitStruct.Pull = GPIO_NOPULL;
  GPIO_InitStruct.Speed = GPIO_SPEED_FREQ_HIGH;
  HAL_GPIO_Init(GPIOA, &GPIO_InitStruct);

  /*Configure GPIO pins : PB0 PB1 PB5 */
  GPIO_InitStruct.Pin = GPIO_PIN_0|GPIO_PIN_1|GPIO_PIN_5;
  GPIO_InitStruct.Mode = GPIO_MODE_OUTPUT_PP;
  GPIO_InitStruct.Pull = GPIO_NOPULL;
  GPIO_InitStruct.Speed = GPIO_SPEED_FREQ_HIGH;
  HAL_GPIO_Init(GPIOB, &GPIO_InitStruct);

  /*Configure GPIO pins : PD12 PD13 */
  GPIO_InitStruct.Pin = GPIO_PIN_12|GPIO_PIN_13;
  GPIO_InitStruct.Mode = GPIO_MODE_OUTPUT_PP;
  GPIO_InitStruct.Pull = GPIO_NOPULL;
  GPIO_InitStruct.Speed = GPIO_SPEED_FREQ_HIGH;
  HAL_GPIO_Init(GPIOD, &GPIO_InitStruct);

  /*Configure GPIO pins : PC8 PC9 PC10 */
  GPIO_InitStruct.Pin = GPIO_PIN_8|GPIO_PIN_9|GPIO_PIN_10;
  GPIO_InitStruct.Mode = GPIO_MODE_OUTPUT_PP;
  GPIO_InitStruct.Pull = GPIO_NOPULL;
  GPIO_InitStruct.Speed = GPIO_SPEED_FREQ_LOW;
  HAL_GPIO_Init(GPIOC, &GPIO_InitStruct);

  /* EXTI interrupt init*/
  HAL_NVIC_SetPriority(EXTI4_IRQn, 0, 0);
  HAL_NVIC_EnableIRQ(EXTI4_IRQn);

}

/* FSMC initialization function */
static void MX_FSMC_Init(void)
{

  FSMC_NORSRAM_TimingTypeDef Timing = {0};

  /** Perform the SRAM1 memory initialization sequence
  */
  hsram1.Instance = FSMC_NORSRAM_DEVICE;
  hsram1.Extended = FSMC_NORSRAM_EXTENDED_DEVICE;
  /* hsram1.Init */
  hsram1.Init.NSBank = FSMC_NORSRAM_BANK1;
  hsram1.Init.DataAddressMux = FSMC_DATA_ADDRESS_MUX_DISABLE;
  hsram1.Init.MemoryType = FSMC_MEMORY_TYPE_SRAM;
  hsram1.Init.MemoryDataWidth = FSMC_NORSRAM_MEM_BUS_WIDTH_16;
  hsram1.Init.BurstAccessMode = FSMC_BURST_ACCESS_MODE_DISABLE;
  hsram1.Init.WaitSignalPolarity = FSMC_WAIT_SIGNAL_POLARITY_LOW;
  hsram1.Init.WrapMode = FSMC_WRAP_MODE_DISABLE;
  hsram1.Init.WaitSignalActive = FSMC_WAIT_TIMING_BEFORE_WS;
  hsram1.Init.WriteOperation = FSMC_WRITE_OPERATION_ENABLE;
  hsram1.Init.WaitSignal = FSMC_WAIT_SIGNAL_DISABLE;
  hsram1.Init.ExtendedMode = FSMC_EXTENDED_MODE_DISABLE;
  hsram1.Init.AsynchronousWait = FSMC_ASYNCHRONOUS_WAIT_DISABLE;
  hsram1.Init.WriteBurst = FSMC_WRITE_BURST_DISABLE;
  /* Timing */
  Timing.AddressSetupTime = 15;
  Timing.AddressHoldTime = 15;
  Timing.DataSetupTime = 255;
  Timing.BusTurnAroundDuration = 15;
  Timing.CLKDivision = 16;
  Timing.DataLatency = 17;
  Timing.AccessMode = FSMC_ACCESS_MODE_A;
  /* ExtTiming */

  if (HAL_SRAM_Init(&hsram1, &Timing, NULL) != HAL_OK)
  {
    Error_Handler( );
  }

  /** Disconnect NADV
  */

  __HAL_AFIO_FSMCNADV_DISCONNECTED();

}

void Error_Handler(void)
{
  __disable_irq();
  while (1)
  {
  }
}
